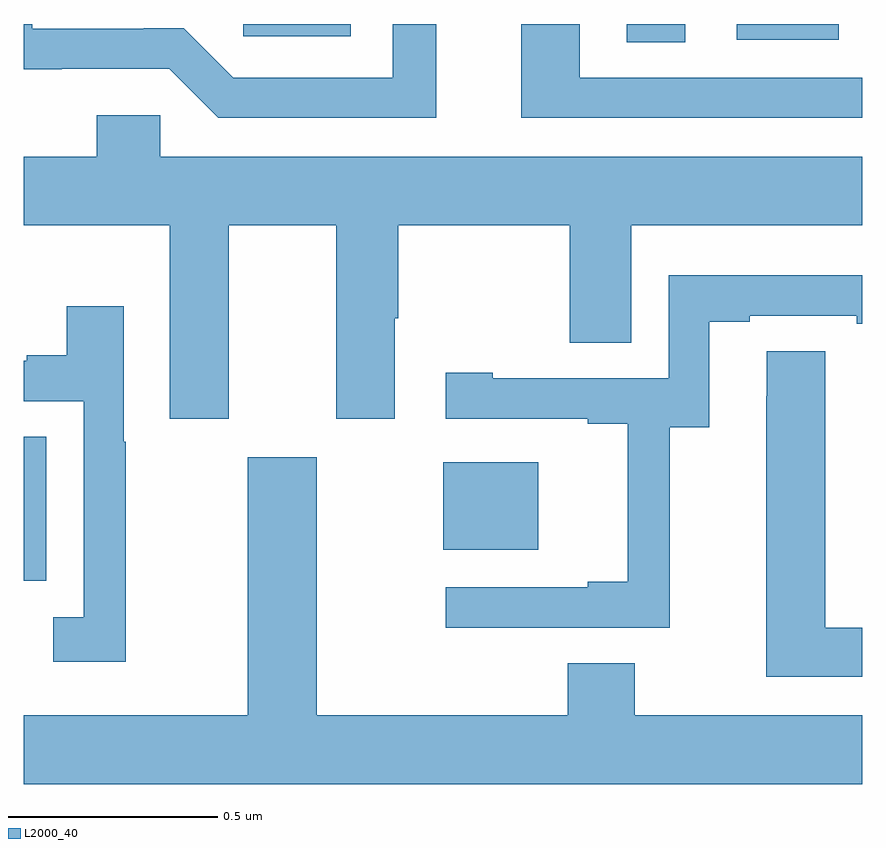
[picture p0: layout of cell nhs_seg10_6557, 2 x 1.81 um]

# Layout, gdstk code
import gdstk
lib = gdstk.Library(unit=1e-6, precision=1e-09)
def R(c, l, rs):  # rectangles x0, y0, x1, y1
    for r in rs: c.add(gdstk.rectangle(r[:2], r[2:], *l))
def P(c, l, *ps):  # polygons
    for p in ps: c.add(gdstk.Polygon(p, *l))
L2000_40 = (2000, 40)

nhs_seg10_6557 = lib.new_cell('nhs_seg10_6557')
R(nhs_seg10_6557, L2000_40, [(193,1262.173,193.054,1262.516), (194,1262.246,194.227,1262.455), (194.438,1263.457,194.578,1263.5), (194.7,1263.462,194.944,1263.5), (193.524,1263.471,193.78,1263.5)])
P(nhs_seg10_6557, L2000_40, [(195,1263.372),(194.326,1263.372),(194.326,1263.5),(194.186,1263.5),(194.186,1263.276),(195,1263.276)],
  [(193.984,1263.5),(193.88,1263.5),(193.88,1263.372),(193.5,1263.372),(193.382,1263.49),(193.286,1263.49),(193.286,1263.489),(193.021,1263.489),(193.021,1263.5),(193,1263.5),(193,1263.392),(193.091,1263.392),(193.091,1263.393),(193.347,1263.393),(193.464,1263.276),(193.984,1263.276)],
  [(193.489,1263.02),(193.745,1263.02),(193.745,1262.559),(193.885,1262.559),(193.885,1262.798),(193.893,1262.798),(193.893,1263.02),(194.302,1263.02),(194.302,1262.74),(194.449,1262.74),(194.449,1263.02),(195,1263.02),(195,1263.184),(193.326,1263.184),(193.326,1263.282),(193.175,1263.282),(193.175,1263.184),(193,1263.184),(193,1263.02),(193.349,1263.02),(193.349,1262.559),(193.489,1262.559)],
  [(194.541,1262.539),(194.635,1262.539),(194.635,1262.79),(194.731,1262.79),(194.731,1262.805),(194.987,1262.805),(194.987,1262.785),(195,1262.785),(195,1262.901),(194.538,1262.901),(194.538,1262.655),(194.119,1262.655),(194.119,1262.668),(194.007,1262.668),(194.007,1262.559),(194.345,1262.559),(194.345,1262.547),(194.441,1262.547),(194.441,1262.17),(194.345,1262.17),(194.345,1262.157),(194.007,1262.157),(194.007,1262.061),(194.541,1262.061)],
  [(193.244,1262.504),(193.239,1262.504),(193.239,1262.827),(193.103,1262.827),(193.103,1262.71),(193.007,1262.71),(193.007,1262.697),(193,1262.697),(193,1262.601),(193.143,1262.601),(193.143,1262.085),(193.071,1262.085),(193.071,1261.98),(193.244,1261.98)],
  [(195,1262.06),(194.911,1262.06),(194.911,1262.72),(194.772,1262.72),(194.772,1262.612),(194.771,1262.612),(194.771,1261.944),(195,1261.944)],
  [(195,1261.852),(194.457,1261.852),(194.457,1261.976),(194.297,1261.976),(194.297,1261.852),(193.699,1261.852),(193.699,1262.467),(193.535,1262.467),(193.535,1261.852),(193,1261.852),(193,1261.688),(195,1261.688)])

lib.write_gds('nhs_seg10_6557.gds')
